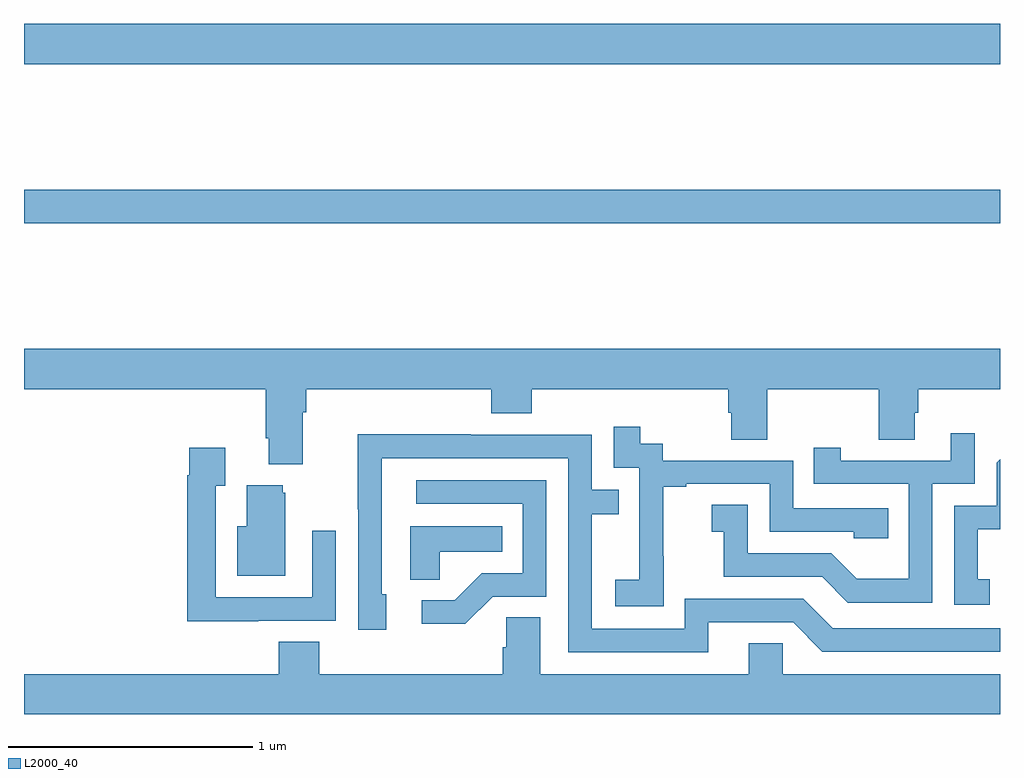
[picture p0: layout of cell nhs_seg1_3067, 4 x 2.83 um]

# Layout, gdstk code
import gdstk
lib = gdstk.Library(unit=1e-6, precision=1e-09)
def R(c, l, rs):  # rectangles x0, y0, x1, y1
    for r in rs: c.add(gdstk.rectangle(r[:2], r[2:], *l))
def P(c, l, *ps):  # polygons
    for p in ps: c.add(gdstk.Polygon(p, *l))
L2000_40 = (2000, 40)

nhs_seg1_3067 = lib.new_cell('nhs_seg1_3067')
R(nhs_seg1_3067, L2000_40, [(277,555.076,281,555.212), (277,555.728,281,555.892)])
P(nhs_seg1_3067, L2000_40, [(278.143,554.3),(278.156,554.3),(278.156,554.396),(278.915,554.396),(278.915,554.297),(279.08,554.297),(279.08,554.396),(279.887,554.396),(279.887,554.298),(279.899,554.298),(279.899,554.188),(280.047,554.188),(280.047,554.396),(280.504,554.396),(280.504,554.188),(280.651,554.188),(280.651,554.298),(280.664,554.298),(280.664,554.396),(281,554.396),(281,554.56),(277,554.56),(277,554.396),(277.991,554.396),(277.991,554.194),(278.003,554.194),(278.003,554.087),(278.143,554.087)],
  [(279.621,553.711),(279.62,553.711),(279.62,553.995),(279.715,553.995),(279.715,554.007),(280.056,554.007),(280.056,553.812),(280.401,553.812),(280.401,553.785),(280.541,553.785),(280.541,553.908),(280.152,553.908),(280.152,554.103),(279.618,554.103),(279.618,554.172),(279.526,554.172),(279.526,554.242),(279.417,554.242),(279.417,554.073),(279.522,554.073),(279.522,553.844),(279.521,553.844),(279.521,553.615),(279.423,553.615),(279.423,553.505),(279.621,553.505)],
  [(280.722,554.007),(280.896,554.007),(280.896,554.215),(280.799,554.215),(280.799,554.103),(280.348,554.103),(280.348,554.155),(280.237,554.155),(280.237,554.007),(280.626,554.007),(280.626,553.618),(280.412,553.618),(280.308,553.722),(279.966,553.722),(279.966,553.921),(279.819,553.921),(279.819,553.811),(279.868,553.811),(279.868,553.626),(280.271,553.626),(280.376,553.521),(280.722,553.521)],
  [(279.805,553.44),(280.152,553.44),(280.272,553.32),(281,553.32),(281,553.416),(280.314,553.416),(280.194,553.536),(279.708,553.536),(279.708,553.413),(279.327,553.413),(279.327,553.882),(279.437,553.882),(279.437,553.983),(279.327,553.983),(279.327,554.208),(278.831,554.208),(278.831,554.21),(278.368,554.21),(278.368,553.903),(278.37,553.903),(278.37,553.41),(278.485,553.41),(278.485,553.554),(278.466,553.554),(278.466,554.112),(279.231,554.112),(279.231,553.317),(279.805,553.317)],
  [(277.961,553.446),(278.277,553.446),(278.277,553.816),(278.181,553.816),(278.181,553.542),(277.785,553.542),(277.785,553.999),(277.825,553.999),(277.825,554.155),(277.677,554.155),(277.677,554.042),(277.669,554.042),(277.669,553.445),(277.961,553.445)],
  [(280.958,553.617),(280.909,553.617),(280.909,553.821),(281,553.821),(281,554.108),(280.986,554.094),(280.986,553.917),(280.812,553.917),(280.812,553.512),(280.958,553.512)],
  [(278.922,553.545),(279.141,553.545),(279.141,554.022),(278.607,554.022),(278.607,553.926),(279.045,553.926),(279.045,553.641),(278.876,553.641),(278.765,553.53),(278.631,553.53),(278.631,553.433),(278.809,553.433)],
  [(278.071,553.971),(278.06,553.971),(278.06,554.002),(277.913,554.002),(277.913,553.834),(277.874,553.834),(277.874,553.631),(278.071,553.631)],
  [(278.703,553.73),(278.96,553.73),(278.96,553.834),(278.582,553.834),(278.582,553.615),(278.703,553.615)],
  [(281,553.228),(280.11,553.228),(280.11,553.355),(279.971,553.355),(279.971,553.228),(279.115,553.228),(279.115,553.46),(278.976,553.46),(278.976,553.337),(278.963,553.337),(278.963,553.228),(278.21,553.228),(278.21,553.361),(278.045,553.361),(278.045,553.228),(277,553.228),(277,553.064),(281,553.064)])

lib.write_gds('nhs_seg1_3067.gds')
